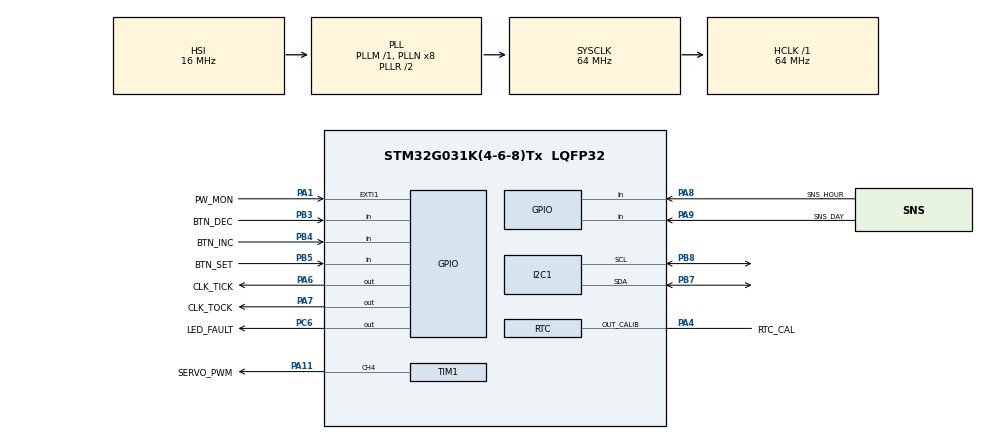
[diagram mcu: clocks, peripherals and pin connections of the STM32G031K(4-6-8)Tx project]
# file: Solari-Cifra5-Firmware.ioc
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I2C1.Timing=0x00503D58
Mcu.Family=STM32G0
Mcu.Name=STM32G031K(4-6-8)Tx
Mcu.Package=LQFP32
NVIC.EXTI0_1_IRQn=true\:0\:0\:false\:false\:true\:true\:true\:true
NVIC.TIM17_IRQn=true\:0\:0\:false\:false\:true\:false\:true\:true
NVIC.TimeBase=TIM17_IRQn
NVIC.TimeBaseIP=TIM17
PA0.Mode=SYS_WakeUp0
PA0.Signal=SYS_WKUP1
PA1.GPIO_Label=PW_MON
PA1.GPIO_ModeDefaultEXTI=GPIO_MODE_IT_FALLING
PA1.Signal=GPXTI1
PA11\ [PA9].GPIO_Label=SERVO_PWM
PA11\ [PA9].PinState=GPIO_PIN_SET
PA11\ [PA9].Signal=S_TIM1_CH4
PA13.GPIO_Label=SWDIO
PA13.Mode=Serial_Wire
PA13.Signal=SYS_SWDIO
PA14-BOOT0.GPIO_Label=SWCLK
PA14-BOOT0.Mode=Serial_Wire
PA14-BOOT0.Signal=SYS_SWCLK
PA4.GPIO_Label=RTC_CAL
PA4.Mode=Calibration_1Hz
PA4.Signal=RTC_OUT_CALIB
PA6.GPIO_Label=CLK_TICK
PA6.GPIO_Speed=GPIO_SPEED_FREQ_LOW
PA6.Signal=GPIO_Output
PA7.GPIO_Label=CLK_TOCK
PA7.GPIO_Speed=GPIO_SPEED_FREQ_LOW
PA7.Signal=GPIO_Output
PA8.GPIO_Label=SNS_HOUR
PA8.GPIO_PuPd=GPIO_PULLUP
PA8.Signal=GPIO_Input
PA9.GPIO_Label=SNS_DAY
PA9.GPIO_PuPd=GPIO_PULLUP
PA9.Signal=GPIO_Input
PB3.GPIO_Label=BTN_DEC
PB3.GPIO_PuPd=GPIO_PULLUP
PB3.Signal=GPIO_Input
PB4.GPIO_Label=BTN_INC
PB4.GPIO_PuPd=GPIO_PULLUP
PB4.Signal=GPIO_Input
PB5.GPIO_Label=BTN_SET
PB5.GPIO_PuPd=GPIO_PULLUP
PB5.Signal=GPIO_Input
PB7.GPIO_Pu=GPIO_NOPULL
PB7.Mode=I2C
PB7.Signal=I2C1_SDA
PB8.GPIO_Pu=GPIO_PULLUP
PB8.Mode=I2C
PB8.Signal=I2C1_SCL
PC14-OSC32_IN\ (PC14).Mode=LSE-External-Oscillator
PC14-OSC32_IN\ (PC14).Signal=RCC_OSC32_IN
PC15-OSC32_OUT\ (PC15).Mode=LSE-External-Oscillator
PC15-OSC32_OUT\ (PC15).Signal=RCC_OSC32_OUT
PC6.GPIO_Label=LED_FAULT
PC6.GPIO_Speed=GPIO_SPEED_FREQ_LOW
PC6.Signal=GPIO_Output
ProjectManager.HeapSize=0x200
ProjectManager.StackSize=0x400
ProjectManager.TargetToolchain=CMake
RCC.ADCFreq_Value=64000000
RCC.AHBFreq_Value=64000000
RCC.CortexFreq_Value=64000000
RCC.EXTERNAL_CLOCK_VALUE=12288000
RCC.HCLKFreq_Value=64000000
RCC.HSE_VALUE=8000000
RCC.HSI_VALUE=16000000
RCC.I2C1CLockSelection=RCC_I2C1CLKSOURCE_HSI
RCC.LSE_Drive_Capability=RCC_LSEDRIVE_LOW
RCC.RTCClockSelection=RCC_RTCCLKSOURCE_LSE
RCC.SYSCLKFreq_VALUE=64000000
RCC.SYSCLKSource=RCC_SYSCLKSOURCE_PLLCLK
RCC.USART1CLockSelection=RCC_USART1CLKSOURCE_HSI
RCC.VCOOutputFreq_Value=128000000
SH.S_TIM1_CH4.0=TIM1_CH4,PWM Generation4 CH4
TIM1.AutoReloadPreload=TIM_AUTORELOAD_PRELOAD_DISABLE
TIM1.Channel-PWM\ Generation4\ CH4=TIM_CHANNEL_4
TIM1.OCFastMode_PWM-PWM\ Generation4\ CH4=TIM_OCFAST_DISABLE
TIM1.OCIdleState_4=TIM_OCIDLESTATE_SET
TIM1.OCPolarity_4=TIM_OCPOLARITY_LOW
TIM1.Period=1000-1
TIM1.Prescaler=1280-1
VP_RTC_VS_RTC_Activate.Mode=RTC_Enabled
VP_SYS_VS_tim17.Mode=TIM17
VP_TIM1_VS_ClockSourceINT.Mode=Internal
board=NUCLEO-G031K8

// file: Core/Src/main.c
/* USER CODE BEGIN Header */
/**
 ******************************************************************************
 * @file           : main.c
 * @brief          : Main program body
 ******************************************************************************
 * @attention
 *
 * <h2><center>&copy; Copyright (c) 2021 STMicroelectronics.
 * All rights reserved.</center></h2>
 *
 * This software component is licensed by ST under BSD 3-Clause license,
 * the "License"; You may not use this file except in compliance with the
 * License. You may obtain a copy of the License at:
 *                        opensource.org/licenses/BSD-3-Clause
 *
 ******************************************************************************
 */
/* USER CODE END Header */
#include "main.h"

/* USER CODE BEGIN Includes */
#include "rtos_init.h"
#include "ssd1306.h"
/* USER CODE END Includes */

I2C_HandleTypeDef hi2c1;

RTC_HandleTypeDef hrtc;

TIM_HandleTypeDef htim1;

void SystemClock_Config(void);
static void MX_GPIO_Init(void);
static void MX_I2C1_Init(void);
static void MX_TIM1_Init(void);
static void MX_RTC_Init(void);

int main(void)
{

  /* MCU Configuration--------------------------------------------------------*/

  /* Reset of all peripherals, Initializes the Flash interface and the Systick. */
  HAL_Init();

  /* Configure the system clock */
  SystemClock_Config();

  /* Initialize all configured peripherals */
  MX_GPIO_Init();
  MX_I2C1_Init();
  MX_TIM1_Init();
  MX_RTC_Init();
  /* USER CODE BEGIN 2 */

  // Calibration now applied from backup register in createRTOS_Tasks()
  // HAL_RTCEx_SetSmoothCalib(&hrtc, RTC_SMOOTHCALIB_PERIOD_32SEC, RTC_SMOOTHCALIB_PLUSPULSES_RESET, 124);

  // Initialize peripherals handlers for the RTOS tasks
  initRTOS_Periferals(&htim1, &hrtc);

  // Initialize the display
  ssd1306_Init(&hi2c1);

  createRTOS_Tasks();  // Hardware initialization complete - Start FreeRTOS

  vTaskStartScheduler(); // Start the RTOS

  Error_Handler(); // If it is executed something is really wrong....

  /* USER CODE END 2 */

  /* Infinite loop */
    while (1) {

	}
}

void SystemClock_Config(void)
{
  RCC_OscInitTypeDef RCC_OscInitStruct = {0};
  RCC_ClkInitTypeDef RCC_ClkInitStruct = {0};

  /** Configure the main internal regulator output voltage
  */
  HAL_PWREx_ControlVoltageScaling(PWR_REGULATOR_VOLTAGE_SCALE1);

  /** Configure LSE Drive Capability
  */
  HAL_PWR_EnableBkUpAccess();
  __HAL_RCC_LSEDRIVE_CONFIG(RCC_LSEDRIVE_LOW);

  /** Initializes the RCC Oscillators according to the specified parameters
  * in the RCC_OscInitTypeDef structure.
  */
  RCC_OscInitStruct.OscillatorType = RCC_OSCILLATORTYPE_HSI|RCC_OSCILLATORTYPE_LSE;
  RCC_OscInitStruct.LSEState = RCC_LSE_ON;
  RCC_OscInitStruct.HSIState = RCC_HSI_ON;
  RCC_OscInitStruct.HSIDiv = RCC_HSI_DIV1;
  RCC_OscInitStruct.HSICalibrationValue = RCC_HSICALIBRATION_DEFAULT;
  RCC_OscInitStruct.PLL.PLLState = RCC_PLL_ON;
  RCC_OscInitStruct.PLL.PLLSource = RCC_PLLSOURCE_HSI;
  RCC_OscInitStruct.PLL.PLLM = RCC_PLLM_DIV1;
  RCC_OscInitStruct.PLL.PLLN = 8;
  RCC_OscInitStruct.PLL.PLLP = RCC_PLLP_DIV2;
  RCC_OscInitStruct.PLL.PLLQ = RCC_PLLQ_DIV2;
  RCC_OscInitStruct.PLL.PLLR = RCC_PLLR_DIV2;
  if (HAL_RCC_OscConfig(&RCC_OscInitStruct) != HAL_OK)
  {
    Error_Handler();
  }

  /** Initializes the CPU, AHB and APB buses clocks
  */
  RCC_ClkInitStruct.ClockType = RCC_CLOCKTYPE_HCLK|RCC_CLOCKTYPE_SYSCLK
                              |RCC_CLOCKTYPE_PCLK1;
  RCC_ClkInitStruct.SYSCLKSource = RCC_SYSCLKSOURCE_PLLCLK;
  RCC_ClkInitStruct.AHBCLKDivider = RCC_SYSCLK_DIV1;
  RCC_ClkInitStruct.APB1CLKDivider = RCC_HCLK_DIV1;

  if (HAL_RCC_ClockConfig(&RCC_ClkInitStruct, FLASH_LATENCY_2) != HAL_OK)
  {
    Error_Handler();
  }
}

static void MX_I2C1_Init(void)
{

  hi2c1.Instance = I2C1;
  hi2c1.Init.Timing = 0x00503D58;
  hi2c1.Init.OwnAddress1 = 0;
  hi2c1.Init.AddressingMode = I2C_ADDRESSINGMODE_7BIT;
  hi2c1.Init.DualAddressMode = I2C_DUALADDRESS_DISABLE;
  hi2c1.Init.OwnAddress2 = 0;
  hi2c1.Init.OwnAddress2Masks = I2C_OA2_NOMASK;
  hi2c1.Init.GeneralCallMode = I2C_GENERALCALL_DISABLE;
  hi2c1.Init.NoStretchMode = I2C_NOSTRETCH_DISABLE;
  if (HAL_I2C_Init(&hi2c1) != HAL_OK)
  {
    Error_Handler();
  }

  /** Configure Analogue filter
  */
  if (HAL_I2CEx_ConfigAnalogFilter(&hi2c1, I2C_ANALOGFILTER_ENABLE) != HAL_OK)
  {
    Error_Handler();
  }

  /** Configure Digital filter
  */
  if (HAL_I2CEx_ConfigDigitalFilter(&hi2c1, 0) != HAL_OK)
  {
    Error_Handler();
  }

}

static void MX_RTC_Init(void)
{

  /** Initialize RTC Only
  */
  hrtc.Instance = RTC;
  hrtc.Init.HourFormat = RTC_HOURFORMAT_24;
  hrtc.Init.AsynchPrediv = 127;
  hrtc.Init.SynchPrediv = 255;
  hrtc.Init.OutPut = RTC_OUTPUT_DISABLE;
  hrtc.Init.OutPutRemap = RTC_OUTPUT_REMAP_NONE;
  hrtc.Init.OutPutPolarity = RTC_OUTPUT_POLARITY_HIGH;
  hrtc.Init.OutPutType = RTC_OUTPUT_TYPE_OPENDRAIN;
  hrtc.Init.OutPutPullUp = RTC_OUTPUT_PULLUP_NONE;
  if (HAL_RTC_Init(&hrtc) != HAL_OK)
  {
    Error_Handler();
  }

  /** Enable Calibration
  */
  if (HAL_RTCEx_SetCalibrationOutPut(&hrtc, RTC_CALIBOUTPUT_1HZ) != HAL_OK)
  {
    Error_Handler();
  }

}

static void MX_TIM1_Init(void)
{

  TIM_ClockConfigTypeDef sClockSourceConfig = {0};
  TIM_MasterConfigTypeDef sMasterConfig = {0};
  TIM_OC_InitTypeDef sConfigOC = {0};
  TIM_BreakDeadTimeConfigTypeDef sBreakDeadTimeConfig = {0};

  htim1.Instance = TIM1;
  htim1.Init.Prescaler = 1280-1;
  htim1.Init.CounterMode = TIM_COUNTERMODE_UP;
  htim1.Init.Period = 1000-1;
  htim1.Init.ClockDivision = TIM_CLOCKDIVISION_DIV1;
  htim1.Init.RepetitionCounter = 0;
  htim1.Init.AutoReloadPreload = TIM_AUTORELOAD_PRELOAD_DISABLE;
  if (HAL_TIM_Base_Init(&htim1) != HAL_OK)
  {
    Error_Handler();
  }
  sClockSourceConfig.ClockSource = TIM_CLOCKSOURCE_INTERNAL;
  if (HAL_TIM_ConfigClockSource(&htim1, &sClockSourceConfig) != HAL_OK)
  {
    Error_Handler();
  }
  if (HAL_TIM_PWM_Init(&htim1) != HAL_OK)
  {
    Error_Handler();
  }
  sMasterConfig.MasterOutputTrigger = TIM_TRGO_RESET;
  sMasterConfig.MasterOutputTrigger2 = TIM_TRGO2_RESET;
  sMasterConfig.MasterSlaveMode = TIM_MASTERSLAVEMODE_DISABLE;
  if (HAL_TIMEx_MasterConfigSynchronization(&htim1, &sMasterConfig) != HAL_OK)
  {
    Error_Handler();
  }
  sConfigOC.OCMode = TIM_OCMODE_PWM1;
  sConfigOC.Pulse = 0;
  sConfigOC.OCPolarity = TIM_OCPOLARITY_LOW;
  sConfigOC.OCFastMode = TIM_OCFAST_DISABLE;
  sConfigOC.OCIdleState = TIM_OCIDLESTATE_SET;
  sConfigOC.OCNIdleState = TIM_OCNIDLESTATE_RESET;
  if (HAL_TIM_PWM_ConfigChannel(&htim1, &sConfigOC, TIM_CHANNEL_4) != HAL_OK)
  {
    Error_Handler();
  }
  sBreakDeadTimeConfig.OffStateRunMode = TIM_OSSR_DISABLE;
  sBreakDeadTimeConfig.OffStateIDLEMode = TIM_OSSI_DISABLE;
  sBreakDeadTimeConfig.LockLevel = TIM_LOCKLEVEL_OFF;
  sBreakDeadTimeConfig.DeadTime = 0;
  sBreakDeadTimeConfig.BreakState = TIM_BREAK_DISABLE;
  sBreakDeadTimeConfig.BreakPolarity = TIM_BREAKPOLARITY_HIGH;
  sBreakDeadTimeConfig.BreakFilter = 0;
  sBreakDeadTimeConfig.BreakAFMode = TIM_BREAK_AFMODE_INPUT;
  sBreakDeadTimeConfig.Break2State = TIM_BREAK2_DISABLE;
  sBreakDeadTimeConfig.Break2Polarity = TIM_BREAK2POLARITY_HIGH;
  sBreakDeadTimeConfig.Break2Filter = 0;
  sBreakDeadTimeConfig.Break2AFMode = TIM_BREAK_AFMODE_INPUT;
  sBreakDeadTimeConfig.AutomaticOutput = TIM_AUTOMATICOUTPUT_DISABLE;
  if (HAL_TIMEx_ConfigBreakDeadTime(&htim1, &sBreakDeadTimeConfig) != HAL_OK)
  {
    Error_Handler();
  }
  HAL_TIM_MspPostInit(&htim1);

}

static void MX_GPIO_Init(void)
{
  GPIO_InitTypeDef GPIO_InitStruct = {0};

  /* GPIO Ports Clock Enable */
  __HAL_RCC_GPIOC_CLK_ENABLE();
  __HAL_RCC_GPIOA_CLK_ENABLE();
  __HAL_RCC_GPIOB_CLK_ENABLE();

  /*Configure GPIO pin Output Level */
  HAL_GPIO_WritePin(GPIOA, CLK_TICK_Pin|CLK_TOCK_Pin, GPIO_PIN_RESET);

  /*Configure GPIO pin Output Level */
  HAL_GPIO_WritePin(LED_FAULT_GPIO_Port, LED_FAULT_Pin, GPIO_PIN_RESET);

  /*Configure GPIO pin : PW_MON_Pin */
  GPIO_InitStruct.Pin = PW_MON_Pin;
  GPIO_InitStruct.Mode = GPIO_MODE_IT_FALLING;
  GPIO_InitStruct.Pull = GPIO_NOPULL;
  HAL_GPIO_Init(PW_MON_GPIO_Port, &GPIO_InitStruct);

  /*Configure GPIO pins : CLK_TICK_Pin CLK_TOCK_Pin */
  GPIO_InitStruct.Pin = CLK_TICK_Pin|CLK_TOCK_Pin;
  GPIO_InitStruct.Mode = GPIO_MODE_OUTPUT_PP;
  GPIO_InitStruct.Pull = GPIO_NOPULL;
  GPIO_InitStruct.Speed = GPIO_SPEED_FREQ_LOW;
  HAL_GPIO_Init(GPIOA, &GPIO_InitStruct);

  /*Configure GPIO pins : SNS_HOUR_Pin SNS_DAY_Pin */
  GPIO_InitStruct.Pin = SNS_HOUR_Pin|SNS_DAY_Pin;
  GPIO_InitStruct.Mode = GPIO_MODE_INPUT;
  GPIO_InitStruct.Pull = GPIO_PULLUP;
  HAL_GPIO_Init(GPIOA, &GPIO_InitStruct);

  /*Configure GPIO pin : LED_FAULT_Pin */
  GPIO_InitStruct.Pin = LED_FAULT_Pin;
  GPIO_InitStruct.Mode = GPIO_MODE_OUTPUT_PP;
  GPIO_InitStruct.Pull = GPIO_NOPULL;
  GPIO_InitStruct.Speed = GPIO_SPEED_FREQ_LOW;
  HAL_GPIO_Init(LED_FAULT_GPIO_Port, &GPIO_InitStruct);

  /*Configure GPIO pins : BTN_DEC_Pin BTN_INC_Pin BTN_SET_Pin */
  GPIO_InitStruct.Pin = BTN_DEC_Pin|BTN_INC_Pin|BTN_SET_Pin;
  GPIO_InitStruct.Mode = GPIO_MODE_INPUT;
  GPIO_InitStruct.Pull = GPIO_PULLUP;
  HAL_GPIO_Init(GPIOB, &GPIO_InitStruct);

  /* EXTI interrupt init*/
  HAL_NVIC_SetPriority(EXTI0_1_IRQn, 0, 0);
  HAL_NVIC_EnableIRQ(EXTI0_1_IRQn);

}

/* USER CODE BEGIN 4 */
/* Callback to enter in shutdown mode after a power loss
 *
 */
void HAL_GPIO_EXTI_Falling_Callback(uint16_t GPIO_Pin){
	if (GPIO_Pin == GPIO_PIN_1) {
		__HAL_PWR_CLEAR_FLAG(PWR_FLAG_WUF);
		HAL_PWR_EnableWakeUpPin(PWR_WAKEUP_PIN1_HIGH);
		HAL_PWREx_EnterSHUTDOWNMode(); // Shutdown the MCU
	}
}
/* USER CODE END 4 */

void HAL_TIM_PeriodElapsedCallback(TIM_HandleTypeDef *htim)
{
  if (htim->Instance == TIM17)
  {
    HAL_IncTick();
  }
}

void Error_Handler(void)
{
  /* USER CODE BEGIN Error_Handler_Debug */
	/* User can add his own implementation to report the HAL error return state */

	// ####  You can't disable the interrupts you still need to put the MCU in shutdown ####
	// in case the display is disconnected you have the flashing, but the clock still works...

	//__disable_irq();

	volatile uint32_t i;

	while (1) {
		HAL_GPIO_TogglePin(LED_FAULT_GPIO_Port, LED_FAULT_Pin);
		for (i = 0; i < ERROR_HANDLER_FLASH_DELAY; i++) {
			__asm__("");
		}
		HAL_GPIO_TogglePin(LED_FAULT_GPIO_Port, LED_FAULT_Pin);
		for (i = 0; i < ERROR_HANDLER_FLASH_DELAY * 4; i++) {
			__asm__("");
		}
	}
  /* USER CODE END Error_Handler_Debug */
}
